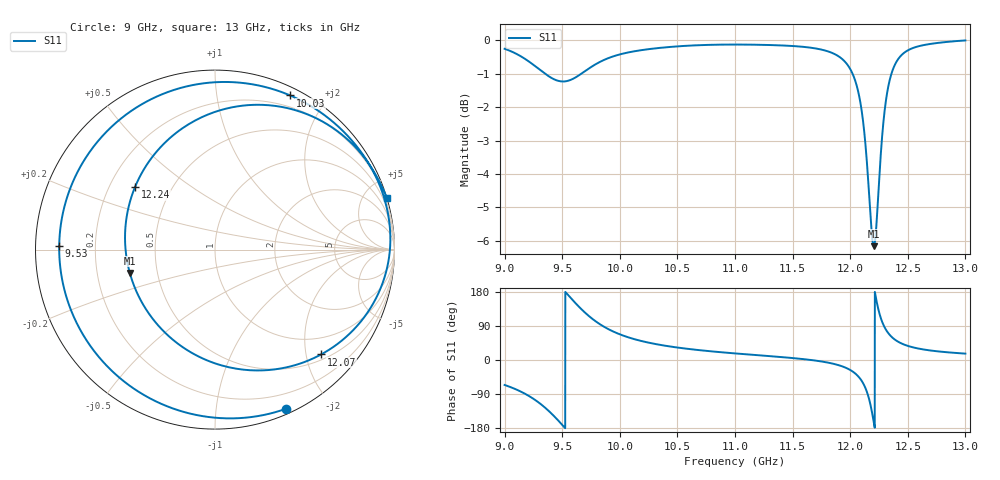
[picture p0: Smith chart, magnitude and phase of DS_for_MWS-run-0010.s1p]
! TOUCHSTONE file generated by CST DESIGN STUDIO
! Date and time: Tue Feb  4 13:55:50 2025
! Project name: C:\Work\MatlabApps\UnitCellOptimizationMatlab\CST\unitcell.cst
! Tree item: Tasks\Sweep1\SPara1\S-Parameters
! Header version: 2024
! Port assignment regex: !\s*Touchstone port\s*([0-9]+)\s*=\s*(CST MWS port|CST DES external port|CST DES block port)\s*(.+)\s* \(\"(.*)\"\)(\s*mode\s*([0-9]+))?.*
! Touchstone port assignment:
! Touchstone port 1 = CST DES external port 1 ("")
# GHz S MA R 50
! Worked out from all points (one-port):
!   4001 points, 9 GHz to 13 GHz, reference 50 ohm
!   lowest |S11| = -6.2 dB at 12.21 GHz (marker M1), VSWR 2.94, Z = 17.3 - j5.95 ohm
!   |S11| at or under -10 dB: nowhere
!   S11 on the Smith chart (normalised r, x): 9 GHz: 0.05, -1.54; 9.53 GHz: 0.07, +0.01; 10.03 GHz: 0.08, +1.60; 12.07 GHz: 0.61, -2.30; 12.24 GHz: 0.31, +0.31; 13 GHz: 0.02, +6.76
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9  0.9711 -65.9
9.169  0.9399 -87.8
9.289  0.9082 -110.6
9.392  0.8815 -137.0
9.5  0.8677 -171.1
9.53  0.8683 178.7
9.644  0.8861 140.9
9.74  0.9094 113.9
9.849  0.9321 90.3
10  0.9525 67.8
10.033  0.9556 64.0
10.233  0.969 46.9
10.5  0.9792 32.9
11  0.9854 17.4
11.5  0.9804 5.2
11.808  0.9624 -6.9
12  0.9058 -26.3
12.074  0.8313 -44.6
12.112  0.756 -61.2
12.15  0.6393 -88.5
12.177  0.5433 -119.6
12.205  0.4922 -164.6
12.238  0.5655 142.0
12.273  0.7032 104.3
12.313  0.8188 78.6
12.39  0.9207 53.3
12.5  0.9658 37.2
13  0.9994 16.8
